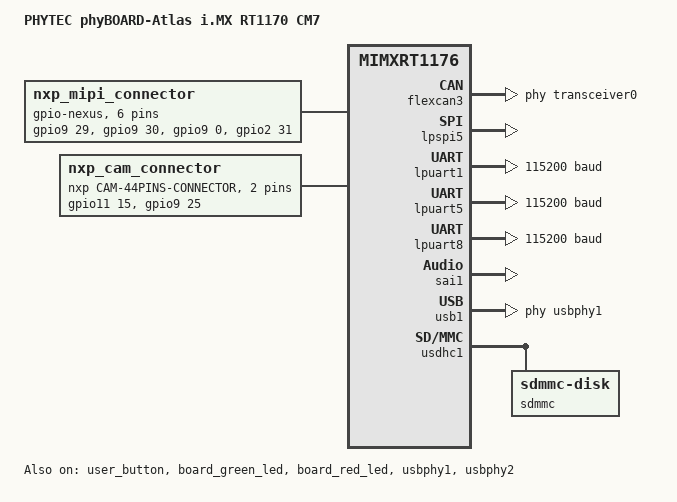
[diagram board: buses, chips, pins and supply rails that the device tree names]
/*
 * Copyright (c) 2025 PHYTEC America LLC
 * SPDX-License-Identifier: Apache-2.0
 */

/dts-v1/;

#include <phytec/phycore_rt1170_mimxrt1176_cm7.dtsi>
#include "phyboard_atlas.dtsi"

/ {
	model = "PHYTEC phyBOARD-Atlas i.MX RT1170 CM7";
	compatible = "phytec,phyboard_atlas";

	aliases {
		mipi-dsi = &mipi_dsi;
	};

	chosen {
		zephyr,console = &lpuart1;
		zephyr,shell-uart = &lpuart1;
		zephyr,canbus = &flexcan3;
	};

	nxp_mipi_connector: mipi-connector {
		compatible = "gpio-nexus";
		#gpio-cells = <2>;
		gpio-map-mask = <0xffffffff 0xffffffc0>;
		gpio-map-pass-thru = <0 0x3f>;
		gpio-map = <0 0 &gpio9 29 0>,   /* Pin 1, LEDK */
			   <21 0 &gpio9 30 0>,  /* Pin 21, RESET */
			   <28 0 &gpio9 0 0>,   /* Pin 28, CTP_RST */
			   <29 0 &gpio2 31 0>,  /* Pin 29, CTP_INT */
			   <32 0 &gpio11 16 0>, /* Pin 32, PWR_EN */
			   <34 0 &gpio9 29 0>;  /* Pin 34, BL_PWM */
	};

	nxp_cam_connector: cam-connector {
		compatible = "nxp,cam-44pins-connector";
		#gpio-cells = <2>;
		gpio-map-mask = <0xffffffff 0xffffffc0>;
		gpio-map-pass-thru = <0 0x3f>;
		gpio-map = <9 0 &gpio11 15 0>, /* Pin 9, RESETB */
			   <17 0 &gpio9 25 0>; /* Pin 17, PWDN */
	};
};

&user_button {
	status = "okay";
};

&board_green_led {
	status = "okay";
};

&board_red_led {
	status = "okay";
};

&flexcan3 {
	status = "okay";
	phys = <&transceiver0>;
};

&lpspi1 {
	dmas = <&edma0 0 36>, <&edma0 1 37>;
	dma-names = "rx", "tx";
	status = "disabled"; /* LPSPI1 conflicts with LPUART5 */
};

&lpspi5 {
	status = "okay";
};

&edma0 {
	status = "okay";
};

&lpuart1 {
	status = "okay";
	current-speed = <115200>;
};

&lpuart5 {
	status = "okay";
	current-speed = <115200>;
};

&lpuart8 {
	status = "okay";
	current-speed = <115200>;
};

nxp_mipi_i2c: &lpi2c5 {
	pinctrl-0 = <&pinmux_lpi2c5>;
	pinctrl-names = "default";
	#address-cells = <1>;
	#size-cells = <0>;
};

&sai1 {
	status = "okay";
};

zephyr_udc0: &usb1 {
	status = "okay";
	phy-handle = <&usbphy1>;
};

&usbphy1 {
	status = "okay";
	tx-d-cal = <7>;
	tx-cal-45-dp-ohms = <6>;
	tx-cal-45-dm-ohms = <6>;
};

&usb2 {
	status = "disabled";
	phy-handle = <&usbphy2>;
};

&usbphy2 {
	status = "okay";
	tx-d-cal = <7>;
	tx-cal-45-dp-ohms = <6>;
	tx-cal-45-dm-ohms = <6>;
};

&usdhc1 {
	status = "okay";
	detect-dat3;
	no-1-8-v;

	sdmmc {
		compatible = "zephyr,sdmmc-disk";
		disk-name = "SD";
		status = "okay";
	};
};

zephyr_lcdif: &lcdif {};

zephyr_mipi_dsi: &mipi_dsi {
	dphy-ref-frequency = <24000000>;
	phy-clock = <792000000>;
};

nxp_cam_i2c: &lpi2c2 {};

nxp_mipi_csi: &mipi_csi2rx {};

nxp_csi: &csi {};
